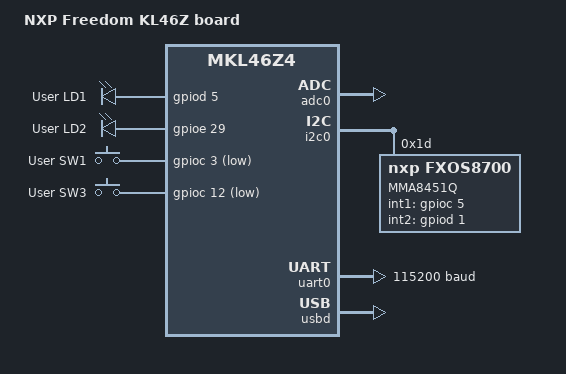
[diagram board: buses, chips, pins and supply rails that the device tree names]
/* SPDX-License-Identifier: Apache-2.0 */

/dts-v1/;

#include <nxp/nxp_kl46z.dtsi>

/ {
	model = "NXP Freedom KL46Z board";
	compatible = "nxp,frdm-kl46z", "nxp,kl46z", "nxp,mkl46z4";

	aliases {
		adc-0 = &adc0;
		uart-0 = &uart0;
		i2c-0 = &i2c0;
		i2c-1 = &i2c1;
		gpio-a = &gpioa;
		gpio-b = &gpiob;
		gpio-c = &gpioc;
		gpio-d = &gpiod;
		gpio-e = &gpioe;
		led0 = &green_led;
		led1 = &red_led;
		sw0 = &user_button_0;
		sw1 = &user_button_1;
	};

	chosen {
		zephyr,sram = &sram0;
		zephyr,flash = &flash0;
		zephyr,console = &uart0;
		zephyr,shell-uart = &uart0;
	};

	leds {
		compatible = "gpio-leds";
		red_led: led_0 {
			gpios = <&gpiod 5 0>;
			label = "User LD1";
		};
		green_led: led_1 {
			gpios = <&gpioe 29 0>;
			label = "User LD2";
		};
	};

	gpio_keys {
		compatible = "gpio-keys";
		user_button_0: button_0 {
			label = "User SW1";
			gpios = <&gpioc 3 GPIO_INT_ACTIVE_LOW>;
		};
		user_button_1: button_1 {
			label = "User SW3";
			gpios = <&gpioc 12 GPIO_INT_ACTIVE_LOW>;
		};
	};
};

&cpu0 {
	clock-frequency = <48000000>;
};

&adc0 {
	status = "okay";
};

&i2c0 {
	status = "okay";
	mma8451q@1d {
		compatible = "nxp,fxos8700","nxp,mma8451q";
		reg = <0x1d>;
		label = "MMA8451Q";
		int1-gpios = <&gpioc 5 0>;
		int2-gpios = <&gpiod 1 0>;
	};
};

&uart0 {
	status = "okay";
	current-speed = <115200>;
};

&usbd {
	compatible = "nxp,kinetis-usbd";
	status = "okay";
	num-bidir-endpoints = <8>;
};
